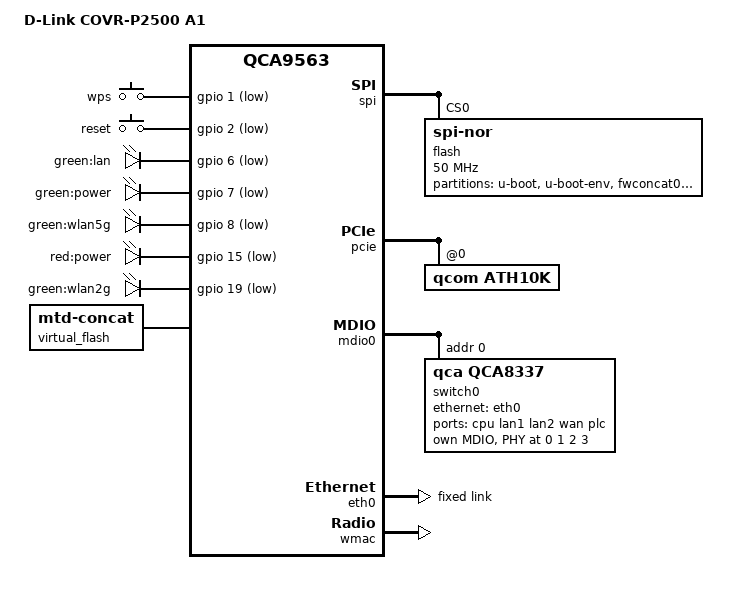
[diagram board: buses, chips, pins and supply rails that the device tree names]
// SPDX-License-Identifier: GPL-2.0-or-later OR MIT

#include "qca956x.dtsi"

#include <dt-bindings/gpio/gpio.h>
#include <dt-bindings/input/input.h>
#include <dt-bindings/mtd/partitions/uimage.h>

/ {
	compatible = "dlink,covr-p2500-a1", "qca,qca9563";
	model = "D-Link COVR-P2500 A1";

	aliases {
		led-boot = &led_power_green;
		led-failsafe = &led_power_red;
		led-running = &led_power_green;
		led-upgrade = &led_power_red;
		label-mac-device = &plc;
	};

	keys {
		compatible = "gpio-keys";

		wps {
			label = "wps";
			linux,code = <KEY_WPS_BUTTON>;
			gpios = <&gpio 1 GPIO_ACTIVE_LOW>;
		};

		reset {
			label = "reset";
			linux,code = <KEY_RESTART>;
			gpios = <&gpio 2 GPIO_ACTIVE_LOW>;
		};
	};

	leds {
		compatible = "gpio-leds";
		pinctrl-names = "default";
		pinctrl-0 = <&jtag_disable_pins>;

		lan {
			label = "green:lan";
			gpios = <&gpio 6 GPIO_ACTIVE_LOW>;
		};

		led_power_green: power_green {
			label = "green:power";
			gpios = <&gpio 7 GPIO_ACTIVE_LOW>;
			default-state = "on";
		};

		wlan5g {
			label = "green:wlan5g";
			gpios = <&gpio 8 GPIO_ACTIVE_LOW>;
			linux,default-trigger = "phy0radio";
		};

		led_power_red: power_red {
			label = "red:power";
			gpios = <&gpio 15 GPIO_ACTIVE_LOW>;
		};

		wlan2g {
			label = "green:wlan2g";
			gpios = <&gpio 19 GPIO_ACTIVE_LOW>;
			linux,default-trigger = "phy1radio";
		};
	};

	virtual_flash {
		compatible = "mtd-concat";

		devices = <&fwconcat0 &fwconcat1>;

		partitions {
			compatible = "fixed-partitions";
			#address-cells = <1>;
			#size-cells = <1>;

			partition@0 {
				compatible = "openwrt,uimage", "denx,uimage";
				openwrt,ih-magic = <0x68737173>;
				label = "firmware";
				reg = <0x0 0x0>;
			};
		};
	};
};

&spi {
	status = "okay";

	flash@0 {
		compatible = "jedec,spi-nor";
		reg = <0>;
		spi-max-frequency = <50000000>;

		partitions {
			compatible = "fixed-partitions";
			#address-cells = <1>;
			#size-cells = <1>;

			partition@0 {
				label = "u-boot";
				reg = <0x0 0x40000>;
				read-only;
			};

			partition@40000 {
				label = "u-boot-env";
				reg = <0x40000 0x10000>;
				read-only;
			};

			fwconcat0: partition@50000 {
				label = "fwconcat0";
				reg = <0x50000 0xe30000>;
			};

			partition@e80000 {
				label = "loader";
				reg = <0xe80000 0x10000>;
				read-only;
			};

			fwconcat1: partition@e90000 {
				label = "fwconcat1";
				reg = <0xe90000 0x160000>;
			};

			art: partition@ff0000 {
				label = "art";
				reg = <0xff0000 0x10000>;
				read-only;

				compatible = "nvmem-cells";

				nvmem-layout {
					compatible = "fixed-layout";
					#address-cells = <1>;
					#size-cells = <1>;

					calibration_ath9k: calibration@1000 {
						reg = <0x1000 0x440>;
					};

					precalibration_ath10k: pre-calibration@5000 {
						reg = <0x5000 0x2f20>;
					};

					macaddr_art_50: macaddr@50 {
						compatible = "mac-base";
						reg = <0x50 0x11>;
						#nvmem-cell-cells = <1>;
					};
				};
			};
		};
	};
};

&pcie {
	status = "okay";

	ath10k: wifi@0,0 {
		compatible = "qcom,ath10k";
		reg = <0 0 0 0 0>;

		nvmem-cells = <&precalibration_ath10k>, <&macaddr_art_50 3>;
		nvmem-cell-names = "pre-calibration", "mac-address";
	};
};

&mdio0 {
	status = "okay";

	switch0@10 {
		compatible = "qca,qca8337";
		#address-cells = <1>;
		#size-cells = <0>;

		reg = <0>;
		qca,ignore-power-on-sel;
		qca,led-open-drain;

		ports {
			#address-cells = <1>;
			#size-cells = <0>;

			port@0 {
				reg = <0>;
				label = "cpu";
				ethernet = <&eth0>;
				phy-mode = "sgmii";
				qca,sgmii-rxclk-falling-edge;

				fixed-link {
					speed = <1000>;
					full-duplex;
				};
			};

			lan1: port@1 {
				reg = <1>;
				label = "lan1";
				phy-mode = "internal";
				phy-handle = <&phy_port1>;

				nvmem-cells = <&macaddr_art_50 1>;
				nvmem-cell-names = "mac-address";
			};

			lan2: port@2 {
				reg = <2>;
				label = "lan2";
				phy-mode = "internal";
				phy-handle = <&phy_port2>;

				nvmem-cells = <&macaddr_art_50 1>;
				nvmem-cell-names = "mac-address";
			};

			wan: port@3 {
				reg = <3>;
				label = "wan";
				phy-mode = "internal";
				phy-handle = <&phy_port3>;

				nvmem-cells = <&macaddr_art_50 1>;
				nvmem-cell-names = "mac-address";
			};

			plc: port@4 {
				reg = <4>;
				label = "plc";
				phy-mode = "internal";
				phy-handle = <&phy_port4>;

				nvmem-cells = <&macaddr_art_50 0>;
				nvmem-cell-names = "mac-address";
			};
		};

		mdio {
			#address-cells = <1>;
			#size-cells = <0>;

			phy_port1: phy@0 {
				reg = <0>;
			};

			phy_port2: phy@1 {
				reg = <1>;
			};

			phy_port3: phy@2 {
				reg = <2>;
			};

			phy_port4: phy@3 {
				reg = <3>;
			};
		};
	};
};

&eth0 {
	status = "okay";

	pll-data = <0x03000101 0x00000101 0x00001919>;

	fixed-link {
		speed = <1000>;
		full-duplex;
	};
};

&wmac {
	status = "okay";

	nvmem-cells = <&calibration_ath9k>, <&macaddr_art_50 2>;
	nvmem-cell-names = "calibration", "mac-address";
};
